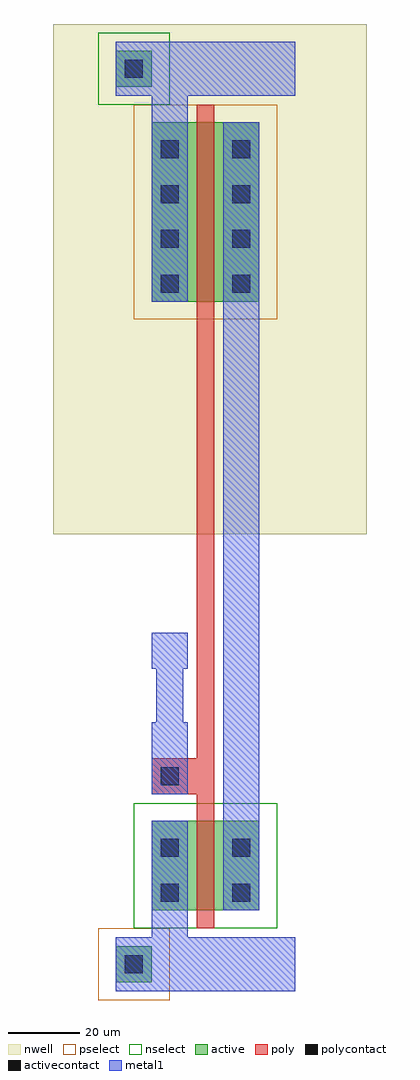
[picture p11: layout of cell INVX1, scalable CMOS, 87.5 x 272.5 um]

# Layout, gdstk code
import gdstk
lib = gdstk.Library(unit=1e-6, precision=1e-09)
def R(c, l, rs):  # rectangles x0, y0, x1, y1
    for r in rs: c.add(gdstk.rectangle(r[:2], r[2:], *l))
def A(c, l, x, y, w, h, nx, ny, dx, dy):  # array of equal rectangles
    R(c, l, [(x+i*dx, y+j*dy, x+i*dx+w, y+j*dy+h) for i in range(nx) for j in range(ny)])
nwell = (42, 0)
active = (43, 0)
pselect = (44, 0)
nselect = (45, 0)
poly = (46, 0)
polycontact = (47, 0)
activecontact = (48, 0)
metal1 = (49, 0)

invx1 = lib.new_cell('INVX1')
R(invx1, nwell, [(-22.5,120,65,262.5)])
R(invx1, active, [(-5,-5,5,5), (5,15,35,40), (5,185,35,235), (-5,245,5,255)])
R(invx1, pselect, [(-10,-10,10,10), (0,180,40,240)])
R(invx1, nselect, [(0,10,40,45), (-10,240,10,260)])
R(invx1, poly, [(17.5,10,22.5,47.5), (5,47.5,22.5,57.5), (17.5,57.5,22.5,240)])
R(invx1, polycontact, [(7.5,50,12.5,55)])
A(invx1, activecontact, 7.5, 187.5, 5, 5, 1, 4, 0, 12.5)
A(invx1, activecontact, 27.5, 187.5, 5, 5, 1, 4, 0, 12.5)
R(invx1, activecontact, [(-2.5,-2.5,2.5,2.5), (7.5,17.5,12.5,22.5), (27.5,17.5,32.5,22.5), (7.5,30,12.5,35), (27.5,30,32.5,35), (-2.5,247.5,2.5,252.5)])
R(invx1, metal1, [(-5,-7.5,45,7.5), (5,7.5,15,40), (25,15,35,235), (5,47.5,15,67.5), (6.25,58.75,13.75,91.25), (5,82.5,15,92.5), (5,185,15,242.5), (-5,242.5,45,257.5)])

lib.write_gds('INVX1.gds')
